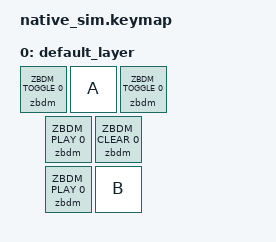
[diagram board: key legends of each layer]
/* Copyright (c) 2026 The ZMK Behavior Dynamic Macro Contributors
 * SPDX-License-Identifier: MIT
 */
#include <dt-bindings/zmk/keys.h>
#include <behaviors.dtsi>
#include <behaviors/zbdm.dtsi>
#include <dt-bindings/zmk/kscan_mock.h>
#include <dt-bindings/zmk/zbdm.h>
/ {
    keymap {
        compatible = "zmk,keymap";
        default_layer {
            bindings = <&zbdm ZBDM_TOGGLE 0 &kp A &zbdm ZBDM_TOGGLE 0
                        &zbdm ZBDM_PLAY 0 &zbdm ZBDM_CLEAR 0
                        &zbdm ZBDM_PLAY 0 &kp B>;
        };
    };
};
&kscan {
    rows = <1>;
    columns = <7>;
    events = <
        ZMK_MOCK_PRESS(0,0,10) ZMK_MOCK_RELEASE(0,0,20)
        ZMK_MOCK_PRESS(0,1,30) ZMK_MOCK_RELEASE(0,1,40)
        ZMK_MOCK_PRESS(0,2,50) ZMK_MOCK_RELEASE(0,2,60)
        ZMK_MOCK_PRESS(0,3,70) ZMK_MOCK_RELEASE(0,3,80)
        ZMK_MOCK_PRESS(0,4,90) ZMK_MOCK_RELEASE(0,4,100)
        ZMK_MOCK_PRESS(0,5,110) ZMK_MOCK_RELEASE(0,5,120)
        ZMK_MOCK_PRESS(0,6,130) ZMK_MOCK_RELEASE(0,6,140)
    >;
};
